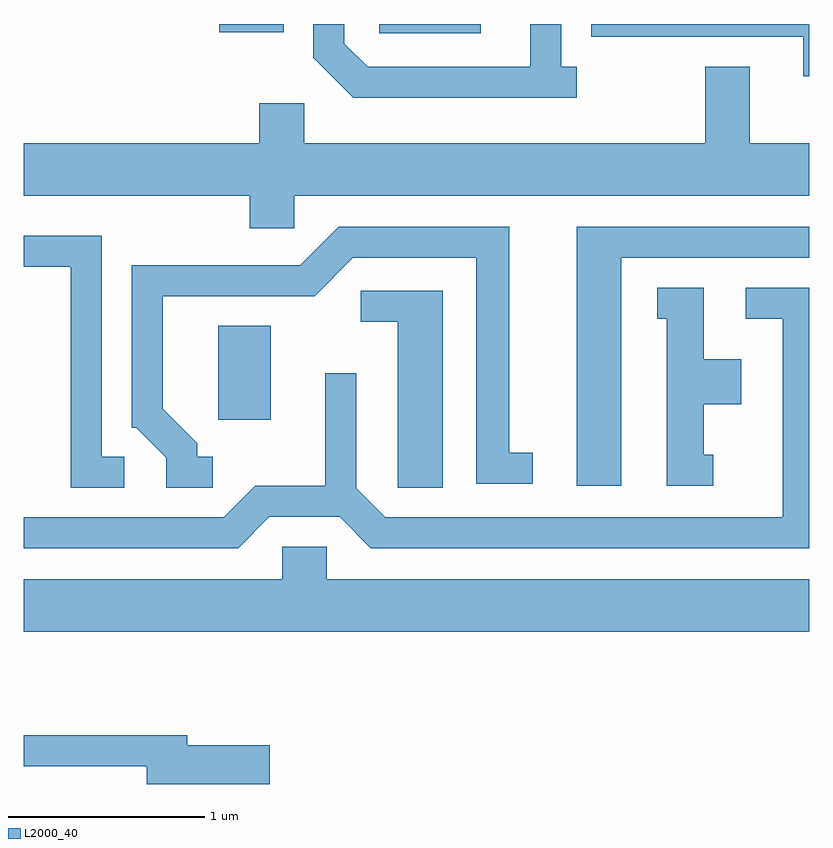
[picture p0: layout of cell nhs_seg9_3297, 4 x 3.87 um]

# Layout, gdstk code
import gdstk
lib = gdstk.Library(unit=1e-6, precision=1e-09)
def R(c, l, rs):  # rectangles x0, y0, x1, y1
    for r in rs: c.add(gdstk.rectangle(r[:2], r[2:], *l))
def P(c, l, *ps):  # polygons
    for p in ps: c.add(gdstk.Polygon(p, *l))
L2000_40 = (2000, 40)

nhs_seg9_3297 = lib.new_cell('nhs_seg9_3297')
R(nhs_seg9_3297, L2000_40, [(282.601,2028.416,282.869,2028.894), (283.421,2030.386,283.938,2030.432), (282.606,2030.391,282.934,2030.432)])
P(nhs_seg9_3297, L2000_40, [(285.611,2030.432),(284.501,2030.432),(284.501,2030.366),(285.581,2030.366),(285.581,2030.166),(285.611,2030.166)],
  [(284.428,2030.214),(284.349,2030.214),(284.349,2030.432),(284.191,2030.432),(284.191,2030.214),(283.362,2030.214),(283.244,2030.332),(283.244,2030.432),(283.086,2030.432),(283.086,2030.259),(283.289,2030.056),(284.428,2030.056)],
  [(282.989,2029.556),(285.611,2029.556),(285.611,2029.824),(285.309,2029.824),(285.309,2030.214),(285.081,2030.214),(285.081,2029.824),(283.039,2029.824),(283.039,2030.029),(282.811,2030.029),(282.811,2029.824),(281.611,2029.824),(281.611,2029.556),(282.761,2029.556),(282.761,2029.391),(282.989,2029.391)],
  [(284.654,2029.241),(285.611,2029.241),(285.611,2029.399),(284.426,2029.399),(284.426,2028.081),(284.654,2028.081)],
  [(282.573,2028.229),(282.494,2028.229),(282.494,2028.297),(282.319,2028.472),(282.319,2029.046),(283.092,2029.046),(283.287,2029.241),(283.916,2029.241),(283.916,2028.091),(284.203,2028.091),(284.203,2028.249),(284.084,2028.249),(284.084,2029.399),(283.214,2029.399),(283.019,2029.204),(282.161,2029.204),(282.161,2028.376),(282.184,2028.376),(282.336,2028.224),(282.336,2028.071),(282.573,2028.071)],
  [(282.123,2028.229),(282.009,2028.229),(282.009,2029.354),(281.611,2029.354),(281.611,2029.196),(281.851,2029.196),(281.851,2028.071),(282.123,2028.071)],
  [(285.123,2028.239),(285.074,2028.239),(285.074,2028.496),(285.264,2028.496),(285.264,2028.724),(285.074,2028.724),(285.074,2029.089),(284.838,2029.089),(284.838,2028.931),(284.886,2028.931),(284.886,2028.081),(285.123,2028.081)],
  [(282.862,2027.921),(283.219,2027.921),(283.379,2027.761),(285.611,2027.761),(285.611,2029.089),(285.288,2029.089),(285.288,2028.931),(285.476,2028.931),(285.476,2027.919),(283.452,2027.919),(283.304,2028.067),(283.304,2028.653),(283.146,2028.653),(283.146,2028.079),(282.789,2028.079),(282.629,2027.919),(281.611,2027.919),(281.611,2027.761),(282.702,2027.761)],
  [(283.744,2029.074),(283.328,2029.074),(283.328,2028.916),(283.516,2028.916),(283.516,2028.071),(283.744,2028.071)],
  [(285.611,2027.604),(283.154,2027.604),(283.154,2027.769),(282.926,2027.769),(282.926,2027.604),(281.611,2027.604),(281.611,2027.336),(285.611,2027.336)],
  [(282.864,2026.759),(282.444,2026.759),(282.444,2026.809),(281.611,2026.809),(281.611,2026.651),(282.236,2026.651),(282.236,2026.561),(282.864,2026.561)])

lib.write_gds('nhs_seg9_3297.gds')
